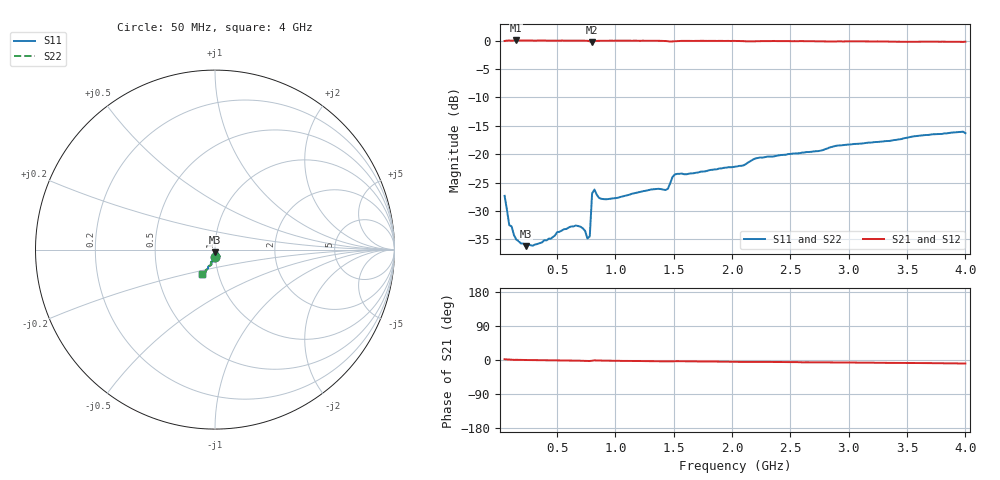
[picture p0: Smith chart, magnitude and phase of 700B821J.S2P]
!  American Technical Ceramics  Date:  3/13/98
!  One Norden Lane
!  Huntington Station,  NY.  11746-2102
!  Tel:  (516) 547-5700  Fax:  (516) 547-5748
!  Part Number  700B821J
!  Description: Porcelain, High Q, Low ESR
!  Application: Bypass, Coupling, Timing, Feedback
!  Tuning, Impedance Match, Blocking
# GHZ S DB R 50
! Freq  |S11|  S11 Ph  |S21|  S21 Ph  |S12|  S12 Ph  |S22|  S22 Ph
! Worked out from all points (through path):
!   201 points, 50 MHz to 4 GHz, reference 50 ohm
!   highest |S21| = 0.03 dB at 150 MHz (marker M1); lowest = -0.3 dB at 800 MHz (marker M2)
!   group delay of S21, straight-line fit = 6.49 ps
!   lowest |S11| = -36.2 dB at 230 MHz (marker M3), VSWR 1.03, Z = 49.9 - j1.55 ohm
!   |S11| at or under -10 dB: start of sweep to end of sweep
!   |S22| runs from -36.2 to -16.0 dB; largest |S21 - S12| = 0
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0.05  -27.33 -88.2  -0.06 1.9  -0.06 1.9  -27.33 -88.2
0.09  -32.49 -87.0  0.01 1.0  0.01 1.0  -32.49 -87.0
0.11  -32.71 -90.5  -0.01 0.9  -0.01 0.9  -32.71 -90.5
0.15  -35.02 -94.0  0.03 0.5  0.03 0.5  -35.02 -94.0
0.23  -36.19 -93.0  0.02 -0.0  0.02 -0.0  -36.19 -93.0
0.45  -34.87 -95.7  0.01 -0.8  0.01 -0.8  -34.87 -95.7
0.62  -32.73 -96.5  0.00 -1.6  0.00 -1.6  -32.73 -96.5
0.72  -33.04 -95.8  -0.01 -2.0  -0.01 -2.0  -33.04 -95.8
0.76  -34.85 -86.2  -0.03 -2.5  -0.03 -2.5  -34.85 -86.2
0.78  -34.47 -52.4  -0.12 -2.7  -0.12 -2.7  -34.47 -52.4
0.8  -26.89 -54.6  -0.29 -1.7  -0.29 -1.7  -26.89 -54.6
0.82  -26.22 -83.0  -0.11 -1.0  -0.11 -1.0  -26.22 -83.0
0.86  -27.71 -94.8  -0.03 -1.5  -0.03 -1.5  -27.71 -94.8
0.92  -27.93 -98.1  -0.02 -1.8  -0.02 -1.8  -27.93 -98.1
1.37  -26.09 -102.7  -0.03 -3.4  -0.03 -3.4  -26.09 -102.7
1.45  -26.08 -93.5  -0.11 -3.7  -0.11 -3.7  -26.08 -93.5
1.51  -23.56 -96.4  -0.10 -3.0  -0.10 -3.0  -23.56 -96.4
2.03  -22.19 -107.4  -0.06 -4.8  -0.06 -4.8  -22.19 -107.4
2.24  -20.58 -107.9  -0.09 -4.9  -0.09 -4.9  -20.58 -107.9
2.7  -19.51 -111.2  -0.10 -6.2  -0.10 -6.2  -19.51 -111.2
3.35  -17.66 -113.7  -0.18 -7.7  -0.18 -7.7  -17.66 -113.7
4  -16.29 -118.0  -0.19 -9.2  -0.19 -9.2  -16.29 -118.0
